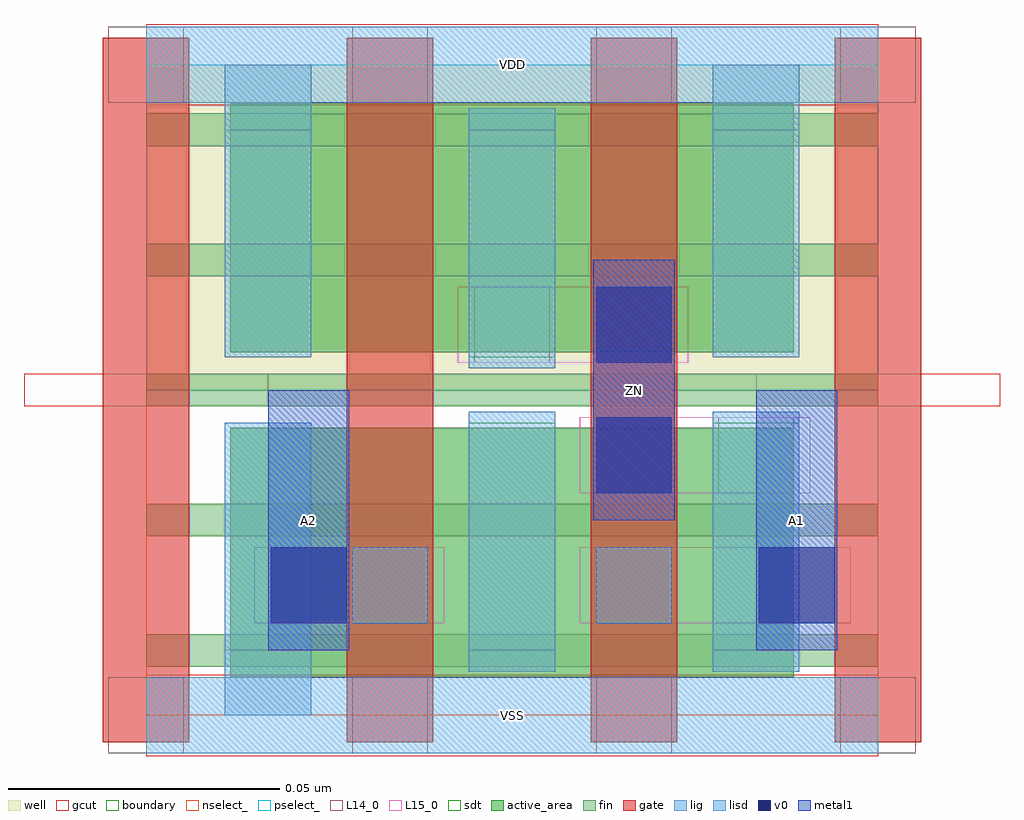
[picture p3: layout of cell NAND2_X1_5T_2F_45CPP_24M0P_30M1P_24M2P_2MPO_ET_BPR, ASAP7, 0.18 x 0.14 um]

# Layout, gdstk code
import gdstk
lib = gdstk.Library(unit=1e-6, precision=2.5e-10)
def R(c, l, rs):  # rectangles x0, y0, x1, y1
    for r in rs: c.add(gdstk.rectangle(r[:2], r[2:], *l))
def A(c, l, x, y, w, h, nx, ny, dx, dy):  # array of equal rectangles
    R(c, l, [(x+i*dx, y+j*dy, x+i*dx+w, y+j*dy+h) for i in range(nx) for j in range(ny)])
well = (1, 0)
fin = (2, 0)
gate = (7, 0)
gcut = (10, 0)
active_area = (11, 0)
nselect_ = (12, 0)
pselect_ = (13, 0)
L14_0 = (14, 0)
L15_0 = (15, 0)
lig = (16, 0)
lisd = (17, 0)
v0 = (18, 0)
metal1 = (19, 0)
sdt = (88, 0)
boundary = (100, 0)

nand2_x1_5t_2f_45cpp_24m = lib.new_cell('NAND2_X1_5T_2F_45CPP_24M0P_30M1P_24M2P_2MPO_ET_BPR')
R(nand2_x1_5t_2f_45cpp_24m, well, [(0,0.06,0.135,0.12)])
A(nand2_x1_5t_2f_45cpp_24m, fin, 0, 0.009, 0.135, 0.006, 1, 5, 0, 0.024)
A(nand2_x1_5t_2f_45cpp_24m, gate, -0.008, -0.005, 0.016, 0.13, 4, 1, 0.045, 0)
R(nand2_x1_5t_2f_45cpp_24m, gcut, [(0,-0.0075,0.135,0.0075), (-0.0225,0.057,0.0225,0.063), (0.1125,0.057,0.1575,0.063), (0,0.1125,0.135,0.1275)])
R(nand2_x1_5t_2f_45cpp_24m, active_area, [(0.0155,0.007,0.0745,0.053), (0.0605,0.007,0.1195,0.053), (0.0155,0.067,0.0745,0.113), (0.0605,0.067,0.1195,0.113)])
R(nand2_x1_5t_2f_45cpp_24m, nselect_, [(0,0,0.135,0.06)])
R(nand2_x1_5t_2f_45cpp_24m, pselect_, [(0,0.06,0.135,0.12)])
A(nand2_x1_5t_2f_45cpp_24m, L14_0, -0.007, -0.007, 0.014, 0.014, 4, 2, 0.045, 0.12)
R(nand2_x1_5t_2f_45cpp_24m, L14_0, [(0.038,0.017,0.052,0.031), (0.083,0.017,0.097,0.031), (0.1055,0.041,0.1195,0.055), (0.0605,0.065,0.0745,0.079)])
R(nand2_x1_5t_2f_45cpp_24m, L15_0, [(0,-0.007,0.135,0.007), (0.02,0.017,0.055,0.031), (0.08,0.017,0.13,0.031), (0.08,0.041,0.1225,0.055), (0.0575,0.065,0.1,0.079), (0,0.113,0.135,0.127)])
R(nand2_x1_5t_2f_45cpp_24m, lig, [(0,-0.007,0.135,0.007), (0.038,0.017,0.052,0.031), (0.083,0.017,0.097,0.031), (0,0.113,0.135,0.127)])
R(nand2_x1_5t_2f_45cpp_24m, lisd, [(0.0145,0,0.0305,0.054), (0.0595,0.008,0.0755,0.056), (0.1045,0.008,0.1205,0.056), (0.0595,0.064,0.0755,0.112), (0.0145,0.066,0.0305,0.12), (0.1045,0.066,0.1205,0.12)])
R(nand2_x1_5t_2f_45cpp_24m, v0, [(0.023,0.017,0.037,0.031), (0.113,0.017,0.127,0.031), (0.083,0.041,0.097,0.055), (0.083,0.065,0.097,0.079)])
R(nand2_x1_5t_2f_45cpp_24m, metal1, [(0.0225,0.012,0.0375,0.06), (0.1125,0.012,0.1275,0.06), (0.0825,0.036,0.0975,0.084)])
A(nand2_x1_5t_2f_45cpp_24m, sdt, 0.0145, 0.012, 0.016, 0.042, 3, 2, 0.045, 0.054)
R(nand2_x1_5t_2f_45cpp_24m, boundary, [(0,0,0.135,0.12)])
nand2_x1_5t_2f_45cpp_24m.add(gdstk.Label('ZN', (0.09,0.06), layer=19, texttype=251))
nand2_x1_5t_2f_45cpp_24m.add(gdstk.Label('A1', (0.12,0.036), layer=19, texttype=251))
nand2_x1_5t_2f_45cpp_24m.add(gdstk.Label('A2', (0.03,0.036), layer=19, texttype=251))
nand2_x1_5t_2f_45cpp_24m.add(gdstk.Label('VDD', (0.0675,0.12), layer=15, texttype=251))
nand2_x1_5t_2f_45cpp_24m.add(gdstk.Label('VSS', (0.0675,0), layer=15, texttype=251))
nand2_x1_5t_2f_45cpp_24m.add(gdstk.Label('VDD', (0.0675,0.12), layer=1, texttype=251))
nand2_x1_5t_2f_45cpp_24m.add(gdstk.Label('VSS', (0.0675,0), layer=3, texttype=251))

lib.write_gds('NAND2_X1_5T_2F_45CPP_24M0P_30M1P_24M2P_2MPO_ET_BPR.gds')
